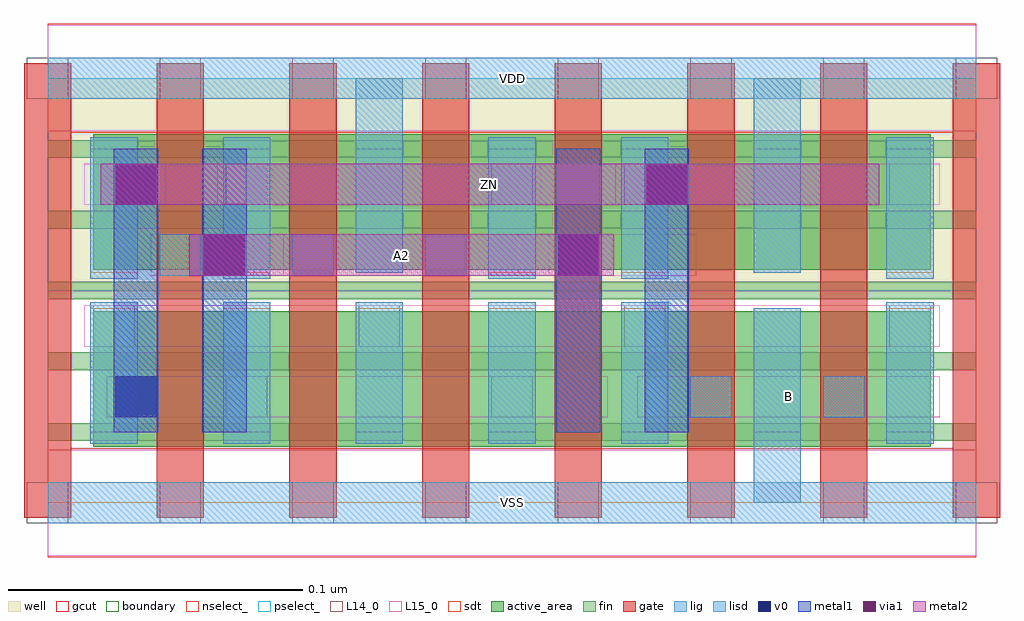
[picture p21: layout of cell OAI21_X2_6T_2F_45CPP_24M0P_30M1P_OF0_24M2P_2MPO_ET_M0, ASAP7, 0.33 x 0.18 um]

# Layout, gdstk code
import gdstk
lib = gdstk.Library(unit=1e-6, precision=2.5e-10)
def R(c, l, rs):  # rectangles x0, y0, x1, y1
    for r in rs: c.add(gdstk.rectangle(r[:2], r[2:], *l))
def A(c, l, x, y, w, h, nx, ny, dx, dy):  # array of equal rectangles
    R(c, l, [(x+i*dx, y+j*dy, x+i*dx+w, y+j*dy+h) for i in range(nx) for j in range(ny)])
well = (1, 0)
fin = (2, 0)
gate = (7, 0)
gcut = (10, 0)
active_area = (11, 0)
nselect_ = (12, 0)
pselect_ = (13, 0)
L14_0 = (14, 0)
L15_0 = (15, 0)
lig = (16, 0)
lisd = (17, 0)
v0 = (18, 0)
metal1 = (19, 0)
metal2 = (20, 0)
via1 = (21, 0)
sdt = (88, 0)
boundary = (100, 0)

oai21_x2_6t_2f_45cpp_24m = lib.new_cell('OAI21_X2_6T_2F_45CPP_24M0P_30M1P_OF0_24M2P_2MPO_ET_M0')
R(oai21_x2_6t_2f_45cpp_24m, well, [(0,0.072,0.315,0.144)])
A(oai21_x2_6t_2f_45cpp_24m, fin, 0, 0.021, 0.315, 0.006, 1, 5, 0, 0.024)
A(oai21_x2_6t_2f_45cpp_24m, gate, -0.008, -0.005, 0.016, 0.154, 8, 1, 0.045, 0)
R(oai21_x2_6t_2f_45cpp_24m, gcut, [(0,-0.0185,0.315,0.0185), (-0.008,-0.005,0.008,0.149), (0.307,-0.005,0.323,0.149), (0,0.1255,0.315,0.1625)])
A(oai21_x2_6t_2f_45cpp_24m, active_area, 0.0155, 0.019, 0.059, 0.046, 6, 2, 0.045, 0.06)
R(oai21_x2_6t_2f_45cpp_24m, nselect_, [(0,0,0.315,0.072)])
R(oai21_x2_6t_2f_45cpp_24m, pselect_, [(0,0.072,0.315,0.144)])
A(oai21_x2_6t_2f_45cpp_24m, L14_0, -0.007, -0.007, 0.014, 0.014, 8, 2, 0.045, 0.144)
A(oai21_x2_6t_2f_45cpp_24m, L14_0, 0.0155, 0.053, 0.014, 0.014, 4, 1, 0.09, 0)
A(oai21_x2_6t_2f_45cpp_24m, L14_0, 0.038, 0.077, 0.014, 0.014, 4, 1, 0.045, 0)
R(oai21_x2_6t_2f_45cpp_24m, L14_0, [(0.0605,0.029,0.0745,0.043), (0.1505,0.029,0.1645,0.043), (0.218,0.029,0.232,0.043), (0.263,0.029,0.277,0.043), (0.0155,0.101,0.0295,0.115), (0.0605,0.101,0.0745,0.115), (0.1505,0.101,0.1645,0.115), (0.1955,0.101,0.2095,0.115), (0.2855,0.101,0.2995,0.115)])
R(oai21_x2_6t_2f_45cpp_24m, L15_0, [(0,-0.018,0.315,0.018), (0.02,0.029,0.19,0.043), (0.2,0.029,0.3025,0.043), (0.0125,0.053,0.3025,0.067), (0.035,0.077,0.07,0.091), (0.08,0.077,0.16,0.091), (0.17,0.077,0.22,0.091), (0.0125,0.101,0.04,0.115), (0.0575,0.101,0.1675,0.115), (0.1925,0.101,0.3025,0.115), (0,0.126,0.315,0.162)])
A(oai21_x2_6t_2f_45cpp_24m, lig, 0.038, 0.077, 0.014, 0.014, 4, 1, 0.045, 0)
R(oai21_x2_6t_2f_45cpp_24m, lig, [(0,-0.007,0.315,0.007), (0.218,0.029,0.232,0.043), (0.263,0.029,0.277,0.043), (0,0.137,0.315,0.151)])
A(oai21_x2_6t_2f_45cpp_24m, lisd, 0.0145, 0.02, 0.016, 0.048, 5, 1, 0.045, 0)
R(oai21_x2_6t_2f_45cpp_24m, lisd, [(0.2395,0,0.2555,0.066), (0.2845,0.02,0.3005,0.068), (0.0145,0.076,0.0305,0.124), (0.0595,0.076,0.0755,0.124), (0.1495,0.076,0.1655,0.124), (0.1945,0.076,0.2105,0.124), (0.2845,0.076,0.3005,0.124), (0.1045,0.078,0.1205,0.144), (0.2395,0.078,0.2555,0.144)])
R(oai21_x2_6t_2f_45cpp_24m, v0, [(0.023,0.029,0.037,0.043), (0.053,0.077,0.067,0.091), (0.173,0.077,0.187,0.091), (0.023,0.101,0.037,0.115), (0.203,0.101,0.217,0.115)])
R(oai21_x2_6t_2f_45cpp_24m, metal1, [(0.0225,0.024,0.0375,0.12), (0.0525,0.024,0.0675,0.12), (0.1725,0.024,0.1875,0.12), (0.2025,0.024,0.2175,0.12)])
R(oai21_x2_6t_2f_45cpp_24m, metal2, [(0.048,0.077,0.192,0.091), (0.018,0.101,0.282,0.115)])
R(oai21_x2_6t_2f_45cpp_24m, via1, [(0.053,0.077,0.067,0.091), (0.173,0.077,0.187,0.091), (0.023,0.101,0.037,0.115), (0.203,0.101,0.217,0.115)])
A(oai21_x2_6t_2f_45cpp_24m, sdt, 0.0145, 0.024, 0.016, 0.042, 7, 2, 0.045, 0.054)
R(oai21_x2_6t_2f_45cpp_24m, boundary, [(0,0,0.315,0.144)])
oai21_x2_6t_2f_45cpp_24m.add(gdstk.Label('A2', (0.12,0.084), layer=15, texttype=251))
oai21_x2_6t_2f_45cpp_24m.add(gdstk.Label('B', (0.2513,0.036), layer=15, texttype=251))
oai21_x2_6t_2f_45cpp_24m.add(gdstk.Label('VDD', (0.1575,0.144), layer=15, texttype=251))
oai21_x2_6t_2f_45cpp_24m.add(gdstk.Label('VSS', (0.1575,0), layer=15, texttype=251))
oai21_x2_6t_2f_45cpp_24m.add(gdstk.Label('VDD', (0.1575,0.144), layer=1, texttype=251))
oai21_x2_6t_2f_45cpp_24m.add(gdstk.Label('VSS', (0.1575,0), layer=3, texttype=251))
oai21_x2_6t_2f_45cpp_24m.add(gdstk.Label('A1', (0.12,0.084), layer=20, texttype=251))
oai21_x2_6t_2f_45cpp_24m.add(gdstk.Label('ZN', (0.15,0.108), layer=20, texttype=251))

lib.write_gds('OAI21_X2_6T_2F_45CPP_24M0P_30M1P_OF0_24M2P_2MPO_ET_M0.gds')
